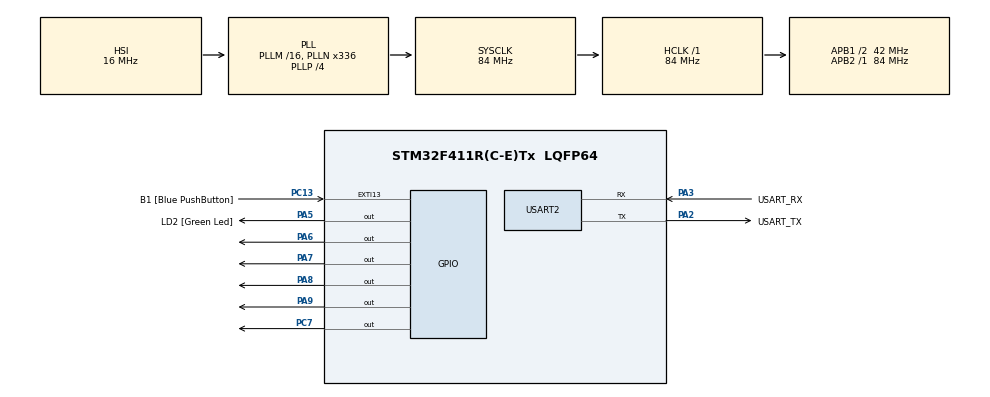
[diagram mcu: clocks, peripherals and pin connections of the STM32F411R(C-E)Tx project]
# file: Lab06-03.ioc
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FREERTOS.Mutexes01=uart,Dynamic,NULL
FREERTOS.Tasks01=defaultTask,0,128,StartDefaultTask,Default,NULL,Dynamic,NULL,NULL;led_blue,-3,128,led_thread_blue,Default,NULL,Dynamic,NULL,NULL;led_green,-3,128,led_thread_green,Default,NULL,Dynamic,NULL,NULL;led_white,-3,128,led_thread_white,Default,NULL,Dynamic,NULL,NULL;led_red,-3,128,led_thread_red,Default,NULL,Dynamic,NULL,NULL;uart1,0,128,uart_thread,Default,NULL,Dynamic,NULL,NULL;uart2,0,128,uart2_thread,Default,NULL,Dynamic,NULL,NULL
FREERTOS.configUSE_NEWLIB_REENTRANT=1
Mcu.Family=STM32F4
Mcu.Name=STM32F411R(C-E)Tx
Mcu.Package=LQFP64
NVIC.PriorityGroup=NVIC_PRIORITYGROUP_4
PA13.GPIO_Label=TMS
PA13.Mode=Serial_Wire
PA13.Signal=SYS_JTMS-SWDIO
PA14.GPIO_Label=TCK
PA14.Mode=Serial_Wire
PA14.Signal=SYS_JTCK-SWCLK
PA2.GPIO_Label=USART_TX
PA2.Mode=Asynchronous
PA2.Signal=USART2_TX
PA3.GPIO_Label=USART_RX
PA3.Mode=Asynchronous
PA3.Signal=USART2_RX
PA5.GPIO_Label=LD2 [Green Led]
PA5.Signal=GPIO_Output
PA6.Signal=GPIO_Output
PA7.Signal=GPIO_Output
PA8.Signal=GPIO_Output
PA9.Signal=GPIO_Output
PB3.GPIO_Label=SWO
PB3.Signal=SYS_JTDO-SWO
PC13-ANTI_TAMP.GPIO_Label=B1 [Blue PushButton]
PC13-ANTI_TAMP.GPIO_ModeDefaultEXTI=GPIO_MODE_IT_FALLING
PC13-ANTI_TAMP.Signal=GPXTI13
PC14-OSC32_IN.Mode=LSE-External-Oscillator
PC14-OSC32_IN.Signal=RCC_OSC32_IN
PC15-OSC32_OUT.Mode=LSE-External-Oscillator
PC15-OSC32_OUT.Signal=RCC_OSC32_OUT
PC7.Signal=GPIO_Output
PH0\ -\ OSC_IN.Mode=HSE-External-Clock-Source
PH0\ -\ OSC_IN.Signal=RCC_OSC_IN
PH1\ -\ OSC_OUT.Mode=HSE-External-Clock-Source
PH1\ -\ OSC_OUT.Signal=RCC_OSC_OUT
ProjectManager.HeapSize=0x200
ProjectManager.StackSize=0x400
ProjectManager.TargetToolchain=STM32CubeIDE
RCC.48MHZClocksFreq_Value=84000000
RCC.AHBFreq_Value=84000000
RCC.APB1CLKDivider=RCC_HCLK_DIV2
RCC.APB1Freq_Value=42000000
RCC.APB1TimFreq_Value=84000000
RCC.APB2Freq_Value=84000000
RCC.APB2TimFreq_Value=84000000
RCC.CortexFreq_Value=84000000
RCC.FLatency-AdvancedSettings=FLASH_LATENCY_2
RCC.HCLKFreq_Value=84000000
RCC.HSE_VALUE=8000000
RCC.HSI_VALUE=16000000
RCC.PLLN=336
RCC.PLLP=RCC_PLLP_DIV4
RCC.SYSCLKFreq_VALUE=84000000
RCC.SYSCLKSource=RCC_SYSCLKSOURCE_PLLCLK
RCC.VCOOutputFreq_Value=336000000
USART2.VirtualMode=VM_ASYNC
VP_FREERTOS_VS_CMSIS_V1.Mode=CMSIS_V1
board=NUCLEO-F411RE

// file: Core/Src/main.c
/* USER CODE BEGIN Header */
/**
  ******************************************************************************
  * @file           : main.c
  * @brief          : Main program body
  ******************************************************************************
  * @attention
  *
  * Copyright (c) 2024 STMicroelectronics.
  * All rights reserved.
  *
  * This software is licensed under terms that can be found in the LICENSE file
  * in the root directory of this software component.
  * If no LICENSE file comes with this software, it is provided AS-IS.
  *
  ******************************************************************************
  */
/* USER CODE END Header */
#include "main.h"
#include "cmsis_os.h"

UART_HandleTypeDef huart2;

osThreadId defaultTaskHandle;
osThreadId led_blueHandle;
osThreadId led_greenHandle;
osThreadId led_whiteHandle;
osThreadId led_redHandle;
osThreadId uart1Handle;
osThreadId uart2Handle;
osMutexId uartHandle;

void SystemClock_Config(void);
static void MX_GPIO_Init(void);
static void MX_USART2_UART_Init(void);
void StartDefaultTask(void const * argument);
void led_thread_blue(void const * argument);
void led_thread_green(void const * argument);
void led_thread_white(void const * argument);
void led_thread_red(void const * argument);
void uart_thread(void const * argument);
void uart2_thread(void const * argument);

int main(void)
{

  /* MCU Configuration--------------------------------------------------------*/

  /* Reset of all peripherals, Initializes the Flash interface and the Systick. */
  HAL_Init();

  /* Configure the system clock */
  SystemClock_Config();

  /* Initialize all configured peripherals */
  MX_GPIO_Init();
  MX_USART2_UART_Init();

  /* Create the mutex(es) */
  /* definition and creation of uart */
  osMutexDef(uart);
  uartHandle = osMutexCreate(osMutex(uart));

  /* Create the thread(s) */
  /* definition and creation of defaultTask */
  osThreadDef(defaultTask, StartDefaultTask, osPriorityNormal, 0, 128);
  defaultTaskHandle = osThreadCreate(osThread(defaultTask), NULL);

  /* definition and creation of led_blue */
  osThreadDef(led_blue, led_thread_blue, osPriorityIdle, 0, 128);
  led_blueHandle = osThreadCreate(osThread(led_blue), NULL);

  /* definition and creation of led_green */
  osThreadDef(led_green, led_thread_green, osPriorityIdle, 0, 128);
  led_greenHandle = osThreadCreate(osThread(led_green), NULL);

  /* definition and creation of led_white */
  osThreadDef(led_white, led_thread_white, osPriorityIdle, 0, 128);
  led_whiteHandle = osThreadCreate(osThread(led_white), NULL);

  /* definition and creation of led_red */
  osThreadDef(led_red, led_thread_red, osPriorityIdle, 0, 128);
  led_redHandle = osThreadCreate(osThread(led_red), NULL);

  /* definition and creation of uart1 */
  osThreadDef(uart1, uart_thread, osPriorityNormal, 0, 128);
  uart1Handle = osThreadCreate(osThread(uart1), NULL);

  /* definition and creation of uart2 */
  osThreadDef(uart2, uart2_thread, osPriorityNormal, 0, 128);
  uart2Handle = osThreadCreate(osThread(uart2), NULL);

  /* Start scheduler */
  osKernelStart();

  /* We should never get here as control is now taken by the scheduler */
  /* Infinite loop */
  while (1)
  {

  }
}

void SystemClock_Config(void)
{
  RCC_OscInitTypeDef RCC_OscInitStruct = {0};
  RCC_ClkInitTypeDef RCC_ClkInitStruct = {0};

  /** Configure the main internal regulator output voltage
  */
  __HAL_RCC_PWR_CLK_ENABLE();
  __HAL_PWR_VOLTAGESCALING_CONFIG(PWR_REGULATOR_VOLTAGE_SCALE1);

  /** Initializes the RCC Oscillators according to the specified parameters
  * in the RCC_OscInitTypeDef structure.
  */
  RCC_OscInitStruct.OscillatorType = RCC_OSCILLATORTYPE_HSI;
  RCC_OscInitStruct.HSIState = RCC_HSI_ON;
  RCC_OscInitStruct.HSICalibrationValue = RCC_HSICALIBRATION_DEFAULT;
  RCC_OscInitStruct.PLL.PLLState = RCC_PLL_ON;
  RCC_OscInitStruct.PLL.PLLSource = RCC_PLLSOURCE_HSI;
  RCC_OscInitStruct.PLL.PLLM = 16;
  RCC_OscInitStruct.PLL.PLLN = 336;
  RCC_OscInitStruct.PLL.PLLP = RCC_PLLP_DIV4;
  RCC_OscInitStruct.PLL.PLLQ = 4;
  if (HAL_RCC_OscConfig(&RCC_OscInitStruct) != HAL_OK)
  {
    Error_Handler();
  }

  /** Initializes the CPU, AHB and APB buses clocks
  */
  RCC_ClkInitStruct.ClockType = RCC_CLOCKTYPE_HCLK|RCC_CLOCKTYPE_SYSCLK
                              |RCC_CLOCKTYPE_PCLK1|RCC_CLOCKTYPE_PCLK2;
  RCC_ClkInitStruct.SYSCLKSource = RCC_SYSCLKSOURCE_PLLCLK;
  RCC_ClkInitStruct.AHBCLKDivider = RCC_SYSCLK_DIV1;
  RCC_ClkInitStruct.APB1CLKDivider = RCC_HCLK_DIV2;
  RCC_ClkInitStruct.APB2CLKDivider = RCC_HCLK_DIV1;

  if (HAL_RCC_ClockConfig(&RCC_ClkInitStruct, FLASH_LATENCY_2) != HAL_OK)
  {
    Error_Handler();
  }
}

static void MX_USART2_UART_Init(void)
{

  huart2.Instance = USART2;
  huart2.Init.BaudRate = 115200;
  huart2.Init.WordLength = UART_WORDLENGTH_8B;
  huart2.Init.StopBits = UART_STOPBITS_1;
  huart2.Init.Parity = UART_PARITY_NONE;
  huart2.Init.Mode = UART_MODE_TX_RX;
  huart2.Init.HwFlowCtl = UART_HWCONTROL_NONE;
  huart2.Init.OverSampling = UART_OVERSAMPLING_16;
  if (HAL_UART_Init(&huart2) != HAL_OK)
  {
    Error_Handler();
  }

}

static void MX_GPIO_Init(void)
{
  GPIO_InitTypeDef GPIO_InitStruct = {0};

  /* GPIO Ports Clock Enable */
  __HAL_RCC_GPIOC_CLK_ENABLE();
  __HAL_RCC_GPIOH_CLK_ENABLE();
  __HAL_RCC_GPIOA_CLK_ENABLE();
  __HAL_RCC_GPIOB_CLK_ENABLE();

  /*Configure GPIO pin Output Level */
  HAL_GPIO_WritePin(GPIOA, LD2_Pin|GPIO_PIN_6|GPIO_PIN_7|GPIO_PIN_8
                          |GPIO_PIN_9, GPIO_PIN_RESET);

  /*Configure GPIO pin Output Level */
  HAL_GPIO_WritePin(GPIOC, GPIO_PIN_7, GPIO_PIN_RESET);

  /*Configure GPIO pin : B1_Pin */
  GPIO_InitStruct.Pin = B1_Pin;
  GPIO_InitStruct.Mode = GPIO_MODE_IT_FALLING;
  GPIO_InitStruct.Pull = GPIO_NOPULL;
  HAL_GPIO_Init(B1_GPIO_Port, &GPIO_InitStruct);

  /*Configure GPIO pins : LD2_Pin PA6 PA7 PA8
                           PA9 */
  GPIO_InitStruct.Pin = LD2_Pin|GPIO_PIN_6|GPIO_PIN_7|GPIO_PIN_8
                          |GPIO_PIN_9;
  GPIO_InitStruct.Mode = GPIO_MODE_OUTPUT_PP;
  GPIO_InitStruct.Pull = GPIO_NOPULL;
  GPIO_InitStruct.Speed = GPIO_SPEED_FREQ_LOW;
  HAL_GPIO_Init(GPIOA, &GPIO_InitStruct);

  /*Configure GPIO pin : PC7 */
  GPIO_InitStruct.Pin = GPIO_PIN_7;
  GPIO_InitStruct.Mode = GPIO_MODE_OUTPUT_PP;
  GPIO_InitStruct.Pull = GPIO_NOPULL;
  GPIO_InitStruct.Speed = GPIO_SPEED_FREQ_LOW;
  HAL_GPIO_Init(GPIOC, &GPIO_InitStruct);

}

void StartDefaultTask(void const * argument)
{
  /* USER CODE BEGIN 5 */
  /* Infinite loop */
  for(;;)
  {
//	HAL_GPIO_WritePin(GPIOA,GPIO_PIN_5,GPIO_PIN_SET);
    osDelay(1);
  }
  /* USER CODE END 5 */
}

void led_thread_blue(void const * argument)
{
  /* USER CODE BEGIN led_thread_blue */
  /* Infinite loop */
  for(;;)
  {
	  osMutexWait(uartHandle, osWaitForever);
	HAL_GPIO_TogglePin(GPIOA, GPIO_PIN_6);
	osMutexRelease(uartHandle);
    osDelay(50);
  }
  /* USER CODE END led_thread_blue */
}

void led_thread_green(void const * argument)
{
  /* USER CODE BEGIN led_thread_green */
  /* Infinite loop */
  for(;;)
  {
	  osMutexWait(uartHandle, osWaitForever);
    HAL_GPIO_TogglePin(GPIOA, GPIO_PIN_7);
    osMutexRelease(uartHandle);
    osDelay(18);
  }
  /* USER CODE END led_thread_green */
}

void led_thread_white(void const * argument)
{
  /* USER CODE BEGIN led_thread_white */
  /* Infinite loop */
  for(;;)
  {
	  osMutexWait(uartHandle, osWaitForever);
	HAL_GPIO_TogglePin(GPIOC, GPIO_PIN_7);
	osMutexRelease(uartHandle);
    osDelay(64);
  }
  /* USER CODE END led_thread_white */
}

void led_thread_red(void const * argument)
{
  /* USER CODE BEGIN led_thread_red */
  /* Infinite loop */
  for(;;)
  {
	osMutexWait(uartHandle, osWaitForever);
    HAL_GPIO_TogglePin(GPIOA, GPIO_PIN_9);
    osMutexRelease(uartHandle);
    osDelay(128);
  }
  /* USER CODE END led_thread_red */
}

void uart_thread(void const * argument)
{
  /* USER CODE BEGIN uart_thread */
	int threadID = 0; // threadID is 0 for one thread and 1 for another
	int idx = 0;
	char buffer[32];
  /* Infinite loop */
  for(;;)
  {
	  osMutexWait(uartHandle, osWaitForever);
	sprintf(buffer, "TID: %d %d\r\n", threadID, idx);
	idx ++;
    HAL_UART_Transmit(&huart2, buffer, strlen(buffer), 1000);
    osMutexRelease(uartHandle);
    osDelay(100);
  }
  /* USER CODE END uart_thread */
}

void uart2_thread(void const * argument)
{
  /* USER CODE BEGIN uart2_thread */
	int threadID = 1; // threadID is 0 for one thread and 1 for another
		int idx = 0;
		char buffer[32];
	  /* Infinite loop */
	  for(;;)
	  {
		  osMutexWait(uartHandle, osWaitForever);
		sprintf(buffer, "TID: %d %d\r\n", threadID, idx);
		idx ++;
	    HAL_UART_Transmit(&huart2, buffer, strlen(buffer), 1000);
	    osMutexRelease(uartHandle);
	    osDelay(100);
	  }
  /* USER CODE END uart2_thread */
}

void Error_Handler(void)
{
  __disable_irq();
  while (1)
  {
  }
}
